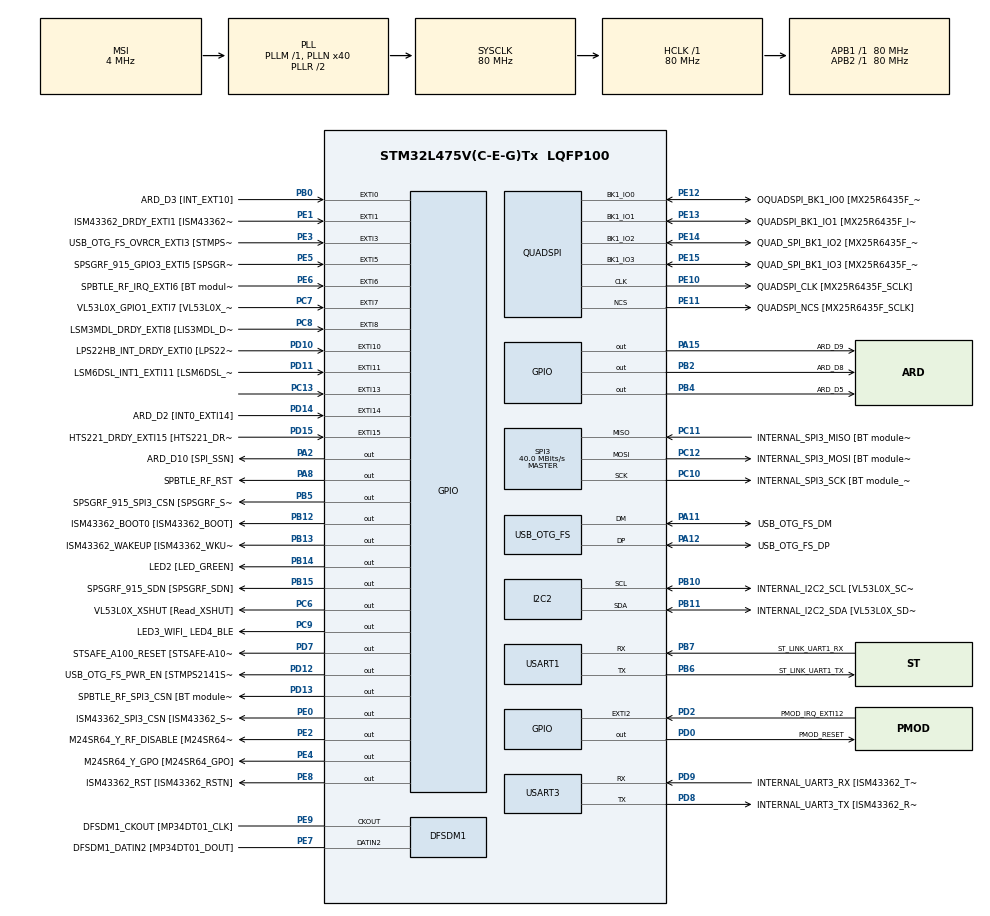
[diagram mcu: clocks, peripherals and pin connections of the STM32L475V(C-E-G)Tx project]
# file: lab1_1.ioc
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FREERTOS.Tasks01=defaultTask,24,128,StartDefaultTask,Default,NULL,Dynamic,NULL,NULL;myTask01,45,128,StartTask01,Default,NULL,Dynamic,NULL,NULL;myTask02,47,128,StartTask02,Default,NULL,Dynamic,NULL,NULL
Mcu.Family=STM32L4
Mcu.Name=STM32L475V(C-E-G)Tx
Mcu.Package=LQFP100
NVIC.EXTI15_10_IRQn=true\:5\:0\:false\:false\:true\:true\:true\:true\:true
NVIC.EXTI9_5_IRQn=true\:5\:0\:false\:false\:true\:true\:true\:true\:true
NVIC.PriorityGroup=NVIC_PRIORITYGROUP_4
PA0.GPIO_Label=ARD_D1 [UART4_TX]
PA0.Signal=UART4_TX
PA1.GPIO_Label=ARD_D0 [UART4_RX]
PA1.Signal=UART4_RX
PA10.GPIO_Label=USB_OTG_FS_ID
PA10.Signal=USB_OTG_FS_ID
PA11.GPIO_Label=USB_OTG_FS_DM
PA11.Mode=Device_Only
PA11.Signal=USB_OTG_FS_DM
PA12.GPIO_Label=USB_OTG_FS_DP
PA12.Mode=Device_Only
PA12.Signal=USB_OTG_FS_DP
PA13\ (JTMS-SWDIO).GPIO_Label=SYS_JTMS_SWDIO
PA13\ (JTMS-SWDIO).Mode=Serial_Wire
PA13\ (JTMS-SWDIO).Signal=SYS_JTMS-SWDIO
PA14\ (JTCK-SWCLK).GPIO_Label=SYS_JTCK_SWCLK
PA14\ (JTCK-SWCLK).Mode=Serial_Wire
PA14\ (JTCK-SWCLK).Signal=SYS_JTCK-SWCLK
PA15\ (JTDI).GPIO_Label=ARD_D9
PA15\ (JTDI).Signal=GPIO_Output
PA2.GPIO_Label=ARD_D10 [SPI_SSN]
PA2.Signal=GPIO_Output
PA3.GPIO_Label=ARD_D4
PA3.Signal=S_TIM2_CH4
PA4.GPIO_Label=ARD_D7
PA4.Signal=ADCx_IN9
PA5.GPIO_Label=ARD_D13 [SPI1_SCK]
PA5.Signal=SPI1_SCK
PA6.GPIO_Label=ARD_D12 [SPI1_MISO]
PA6.Signal=SPI1_MISO
PA7.GPIO_Label=ARD_D11 [SPI1_MOSI]
PA7.Signal=SPI1_MOSI
PA8.GPIO_Label=SPBTLE_RF_RST
PA8.Signal=GPIO_Output
PA9.GPIO_Label=USB_OTG_FS_VBUS [STMPS2141STR_OUT]
PA9.Signal=USB_OTG_FS_VBUS
PB0.GPIO_Label=ARD_D3 [INT_EXT10]
PB0.Signal=GPXTI0
PB1.GPIO_Label=ARD_D6 [ADC1_IN6]
PB1.Signal=ADCx_IN16
PB10.GPIO_Label=INTERNAL_I2C2_SCL [VL53L0X_SCL]
PB10.GPIO_Pu=GPIO_PULLUP
PB10.Mode=I2C
PB10.Signal=I2C2_SCL
PB11.GPIO_Label=INTERNAL_I2C2_SDA [VL53L0X_SDA]
PB11.GPIO_Pu=GPIO_PULLUP
PB11.Mode=I2C
PB11.Signal=I2C2_SDA
PB12.GPIO_Label=ISM43362_BOOT0 [ISM43362_BOOT]
PB12.Signal=GPIO_Output
PB13.GPIO_Label=ISM43362_WAKEUP [ISM43362_WKUP]
PB13.Signal=GPIO_Output
PB14.GPIO_Label=LED2 [LED_GREEN]
PB14.Signal=GPIO_Output
PB15.GPIO_Label=SPSGRF_915_SDN [SPSGRF_SDN]
PB15.Signal=GPIO_Output
PB2.GPIO_Label=ARD_D8
PB2.Signal=GPIO_Output
PB3\ (JTDO-TRACESWO).GPIO_Label=SYS_JTD0_SWO
PB3\ (JTDO-TRACESWO).Signal=SYS_JTDO-SWO
PB4\ (NJTRST).GPIO_Label=ARD_D5
PB4\ (NJTRST).Signal=GPIO_Output
PB5.GPIO_Label=SPSGRF_915_SPI3_CSN [SPSGRF_SPI_CS]
PB5.PinState=GPIO_PIN_SET
PB5.Signal=GPIO_Output
PB6.GPIO_Label=ST_LINK_UART1_TX
PB6.Mode=Asynchronous
PB6.Signal=USART1_TX
PB7.GPIO_Label=ST_LINK_UART1_RX
PB7.Mode=Asynchronous
PB7.Signal=USART1_RX
PB8.GPIO_Label=ARD_D15 [I2C1_SCL]
PB8.Signal=I2C1_SCL
PB9.GPIO_Label=ARD_D14 [I2C1_SDA]
PB9.Signal=I2C1_SDA
PC0.GPIO_Label=ARD_A5 [ADC]
PC0.Signal=ADCx_IN1
PC1.GPIO_Label=ARD_A4 [ADC]
PC1.Signal=ADCx_IN2
PC10.GPIO_Label=INTERNAL_SPI3_SCK [BT module_SPI_SCLK] [ISM43362_SCK]
PC10.Mode=Full_Duplex_Master
PC10.Signal=SPI3_SCK
PC11.GPIO_Label=INTERNAL_SPI3_MISO [BT module_SPI_MISO] [ISM43362_MISO]
PC11.Mode=Full_Duplex_Master
PC11.Signal=SPI3_MISO
PC12.GPIO_Label=INTERNAL_SPI3_MOSI [BT module_SPI_MOSI] [ISM43362_MOSI]
PC12.Mode=Full_Duplex_Master
PC12.Signal=SPI3_MOSI
PC13.GPIO_ModeDefaultEXTI=GPIO_MODE_IT_FALLING
PC13.Signal=GPXTI13
PC14-OSC32_IN\ (PC14).Mode=LSE-External-Oscillator
PC14-OSC32_IN\ (PC14).Signal=RCC_OSC32_IN
PC15-OSC32_OUT\ (PC15).Mode=LSE-External-Oscillator
PC15-OSC32_OUT\ (PC15).Signal=RCC_OSC32_OUT
PC2.GPIO_Label=ARD_A3 [ADC]
PC2.Signal=ADCx_IN3
PC3.GPIO_Label=ARD_A2 [ADC]
PC3.Signal=ADCx_IN4
PC4.GPIO_Label=ARD_A1 [ADC]
PC4.Signal=ADCx_IN13
PC5.GPIO_Label=ARD_A0 [ADC]
PC5.Signal=ADCx_IN14
PC6.GPIO_Label=VL53L0X_XSHUT [Read_XSHUT]
PC6.Signal=GPIO_Output
PC7.GPIO_Label=VL53L0X_GPIO1_EXTI7 [VL53L0X_GPIO1]
PC7.Signal=GPXTI7
PC8.GPIO_Label=LSM3MDL_DRDY_EXTI8 [LIS3MDL_DRDY]
PC8.Signal=GPXTI8
PC9.GPIO_Label=LED3_WIFI_ LED4_BLE
PC9.Signal=GPIO_Output
PD0.GPIO_Label=PMOD_RESET
PD0.Signal=GPIO_Output
PD1.GPIO_Label=PMOD_SPI2_SCK
PD1.Signal=SPI2_SCK
PD10.GPIO_Label=LPS22HB_INT_DRDY_EXTI0 [LPS22HB_INT_DRDY] 
PD10.Signal=GPXTI10
PD11.GPIO_Label=LSM6DSL_INT1_EXTI11 [LSM6DSL_INT1]
PD11.Signal=GPXTI11
PD12.GPIO_Label=USB_OTG_FS_PWR_EN [STMPS2141STR_EN]
PD12.Signal=GPIO_Output
PD13.GPIO_Label=SPBTLE_RF_SPI3_CSN [BT module_SPI_CS]
PD13.PinState=GPIO_PIN_SET
PD13.Signal=GPIO_Output
PD14.GPIO_Label=ARD_D2 [INT0_EXTI14]
PD14.Signal=GPXTI14
PD15.GPIO_Label=HTS221_DRDY_EXTI15 [HTS221_DRDY]
PD15.Signal=GPXTI15
PD2.GPIO_Label=PMOD_IRQ_EXTI12
PD2.Signal=GPXTI2
PD3.GPIO_Label=PMOD_UART2_CTS
PD3.Signal=USART2_CTS
PD4.GPIO_Label=PMOD_UART2_RTS
PD4.Signal=USART2_RTS
PD5.GPIO_Label=PMOD_UART2_TX
PD5.Signal=USART2_TX
PD6.GPIO_Label=PMOD_UART2_RX
PD6.Signal=USART2_RX
PD7.GPIO_Label=STSAFE_A100_RESET [STSAFE-A100_RESET]
PD7.Signal=GPIO_Output
PD8.GPIO_Label=INTERNAL_UART3_TX [ISM43362_RX]
PD8.Mode=Asynchronous
PD8.Signal=USART3_TX
PD9.GPIO_Label=INTERNAL_UART3_RX [ISM43362_TX]
PD9.Mode=Asynchronous
PD9.Signal=USART3_RX
PE0.GPIO_Label=ISM43362_SPI3_CSN [ISM43362_SSN]
PE0.PinState=GPIO_PIN_SET
PE0.Signal=GPIO_Output
PE1.GPIO_Label=ISM43362_DRDY_EXTI1 [ISM43362_DATARDY]
PE1.Signal=GPXTI1
PE10.GPIO_Label=QUADSPI_CLK [MX25R6435F_SCLK]
PE10.Mode=Single Bank
PE10.Signal=QUADSPI_CLK
PE11.GPIO_Label=QUADSPI_NCS [MX25R6435F_SCLK]
PE11.Mode=Single Bank
PE11.Signal=QUADSPI_NCS
PE12.GPIO_Label=OQUADSPI_BK1_IO0 [MX25R6435F_IO0]
PE12.Mode=Single Bank
PE12.Signal=QUADSPI_BK1_IO0
PE13.GPIO_Label=QUADSPI_BK1_IO1 [MX25R6435F_IO1]
PE13.Mode=Single Bank
PE13.Signal=QUADSPI_BK1_IO1
PE14.GPIO_Label=QUAD_SPI_BK1_IO2 [MX25R6435F_IO2]
PE14.Mode=Single Bank
PE14.Signal=QUADSPI_BK1_IO2
PE15.GPIO_Label=QUAD_SPI_BK1_IO3 [MX25R6435F_IO3]
PE15.Mode=Single Bank
PE15.Signal=QUADSPI_BK1_IO3
PE2.GPIO_Label=M24SR64_Y_RF_DISABLE [M24SR64_RFDIS]
PE2.Signal=GPIO_Output
PE3.GPIO_Label=USB_OTG_FS_OVRCR_EXTI3 [STMPS2141STR_FAULT]
PE3.Signal=GPXTI3
PE4.GPIO_Label=M24SR64_Y_GPO [M24SR64_GPO]
PE4.Signal=GPIO_Output
PE5.GPIO_Label=SPSGRF_915_GPIO3_EXTI5 [SPSGRF_GPIO_3]
PE5.Signal=GPXTI5
PE6.GPIO_Label=SPBTLE_RF_IRQ_EXTI6 [BT module_SPI_IRQ]
PE6.Signal=GPXTI6
PE7.GPIO_Label=DFSDM1_DATIN2 [MP34DT01_DOUT]
PE7.Signal=S_DATAIN2DFSDM1
PE8.GPIO_Label=ISM43362_RST [ISM43362_RSTN]
PE8.Signal=GPIO_Output
PE9.GPIO_Label=DFSDM1_CKOUT [MP34DT01_CLK]
PE9.Signal=S_CKOUTDFSDM1
ProjectManager.HeapSize=0x200
ProjectManager.StackSize=0x400
ProjectManager.TargetToolchain=STM32CubeIDE
QUADSPI.ClockPrescaler=2
QUADSPI.FifoThreshold=4
QUADSPI.FlashSize=23
QUADSPI.SampleShifting=QSPI_SAMPLE_SHIFTING_HALFCYCLE
RCC.ADCFreq_Value=48000000
RCC.AHBFreq_Value=80000000
RCC.APB1Freq_Value=80000000
RCC.APB1TimFreq_Value=80000000
RCC.APB2Freq_Value=80000000
RCC.APB2TimFreq_Value=80000000
RCC.CortexFreq_Value=80000000
RCC.HCLKFreq_Value=80000000
RCC.HSE_VALUE=8000000
RCC.HSI_VALUE=16000000
RCC.MSI_VALUE=4000000
RCC.PLLN=40
RCC.PLLSAI1N=24
RCC.SYSCLKFreq_VALUE=80000000
RCC.SYSCLKSource=RCC_SYSCLKSOURCE_PLLCLK
RCC.USBFreq_Value=48000000
RCC.VCOOutputFreq_Value=160000000
SH.ADCx_IN1.0=ADC1_IN1
SH.ADCx_IN13.0=ADC1_IN13
SH.ADCx_IN14.0=ADC1_IN14
SH.ADCx_IN16.0=ADC1_IN16
SH.ADCx_IN2.0=ADC1_IN2
SH.ADCx_IN3.0=ADC1_IN3
SH.ADCx_IN4.0=ADC1_IN4
SH.ADCx_IN9.0=ADC1_IN9
SH.S_CKOUTDFSDM1.0=DFSDM1_CKOUT,CKOUT
SH.S_CKOUTDFSDM1.1=DFSDM1_CKOUT,PDM_SPI_Input_from_ch12_and_Internal_Clock
SH.S_DATAIN2DFSDM1.0=DFSDM1_DATIN2,PDM_SPI_Input_from_ch12_and_Internal_Clock
SH.S_TIM2_CH4.0=TIM2_CH4
SPI3.CalculateBaudRate=40.0 MBits/s
SPI3.Direction=SPI_DIRECTION_2LINES
SPI3.Mode=SPI_MODE_MASTER
SPI3.VirtualType=VM_MASTER
USART1.VirtualMode-Asynchronous=VM_ASYNC
USART3.VirtualMode-Asynchronous=VM_ASYNC
USB_OTG_FS.VirtualMode=Device_Only
VP_FREERTOS_VS_CMSIS_V2.Mode=CMSIS_V2
board=B-L475E-IOT01A2

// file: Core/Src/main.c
/* USER CODE BEGIN Header */
/**
  ******************************************************************************
  * @file           : main.c
  * @brief          : Main program body
  ******************************************************************************
  * @attention
  *
  * Copyright (c) 2025 STMicroelectronics.
  * All rights reserved.
  *
  * This software is licensed under terms that can be found in the LICENSE file
  * in the root directory of this software component.
  * If no LICENSE file comes with this software, it is provided AS-IS.
  *
  ******************************************************************************
  */
/* USER CODE END Header */
#include "main.h"
#include "cmsis_os.h"

DFSDM_Channel_HandleTypeDef hdfsdm1_channel1;

I2C_HandleTypeDef hi2c2;

QSPI_HandleTypeDef hqspi;

SPI_HandleTypeDef hspi3;

UART_HandleTypeDef huart1;
UART_HandleTypeDef huart3;

PCD_HandleTypeDef hpcd_USB_OTG_FS;

/* Definitions for defaultTask */
osThreadId_t defaultTaskHandle;
const osThreadAttr_t defaultTask_attributes = {
  .name = "defaultTask",
  .stack_size = 128 * 4,
  .priority = (osPriority_t) osPriorityNormal,
};
/* Definitions for myTask01 */
osThreadId_t myTask01Handle;
const osThreadAttr_t myTask01_attributes = {
  .name = "myTask01",
  .stack_size = 128 * 4,
  .priority = (osPriority_t) osPriorityHigh5,
};
/* Definitions for myTask02 */
osThreadId_t myTask02Handle;
const osThreadAttr_t myTask02_attributes = {
  .name = "myTask02",
  .stack_size = 128 * 4,
  .priority = (osPriority_t) osPriorityHigh7,
};

void SystemClock_Config(void);
static void MX_GPIO_Init(void);
static void MX_DFSDM1_Init(void);
static void MX_I2C2_Init(void);
static void MX_QUADSPI_Init(void);
static void MX_SPI3_Init(void);
static void MX_USART1_UART_Init(void);
static void MX_USART3_UART_Init(void);
static void MX_USB_OTG_FS_PCD_Init(void);
void StartDefaultTask(void *argument);
void StartTask01(void *argument);
void StartTask02(void *argument);

int main(void)
{

  /* MCU Configuration--------------------------------------------------------*/

  /* Reset of all peripherals, Initializes the Flash interface and the Systick. */
  HAL_Init();

  /* Configure the system clock */
  SystemClock_Config();

  /* Initialize all configured peripherals */
  MX_GPIO_Init();
  MX_DFSDM1_Init();
  MX_I2C2_Init();
  MX_QUADSPI_Init();
  MX_SPI3_Init();
  MX_USART1_UART_Init();
  MX_USART3_UART_Init();
  MX_USB_OTG_FS_PCD_Init();

  /* Init scheduler */
  osKernelInitialize();

  /* USER CODE BEGIN RTOS_MUTEX */
  ledMutexHandle = osMutexNew(NULL);
  /* add mutexes, ... */
  /* USER CODE END RTOS_MUTEX */

  /* USER CODE BEGIN RTOS_SEMAPHORES */
  buttonSemaphoreHandle = osSemaphoreNew(1, 0, "buttonSem");
  timerSemaphoreHandle  = osSemaphoreNew(1, 0, "timerSem");
  /* add semaphores, ... */
  /* USER CODE END RTOS_SEMAPHORES */

  /* USER CODE BEGIN RTOS_TIMERS */
  TIM_HandleTypeDef htim2;
  HAL_TIM_Base_Start_IT(&htim2);
  /* start timers, add new ones, ... */
  /* USER CODE END RTOS_TIMERS */

  /* Create the thread(s) */
  /* creation of defaultTask */
  defaultTaskHandle = osThreadNew(StartDefaultTask, NULL, &defaultTask_attributes);

  /* creation of myTask01 */
  myTask01Handle = osThreadNew(StartTask01, NULL, &myTask01_attributes);

  /* creation of myTask02 */
  myTask02Handle = osThreadNew(StartTask02, NULL, &myTask02_attributes);

  /* USER CODE BEGIN RTOS_EVENTS */
  osKernelStart();
  /* add events, ... */
  /* USER CODE END RTOS_EVENTS */

  /* Start scheduler */
  osKernelStart();

  /* We should never get here as control is now taken by the scheduler */

  /* Infinite loop */
  while (1)
  {

  }
}

void SystemClock_Config(void)
{
  RCC_OscInitTypeDef RCC_OscInitStruct = {0};
  RCC_ClkInitTypeDef RCC_ClkInitStruct = {0};

  /** Configure the main internal regulator output voltage
  */
  if (HAL_PWREx_ControlVoltageScaling(PWR_REGULATOR_VOLTAGE_SCALE1) != HAL_OK)
  {
    Error_Handler();
  }

  /** Configure LSE Drive Capability
  */
  HAL_PWR_EnableBkUpAccess();
  __HAL_RCC_LSEDRIVE_CONFIG(RCC_LSEDRIVE_LOW);

  /** Initializes the RCC Oscillators according to the specified parameters
  * in the RCC_OscInitTypeDef structure.
  */
  RCC_OscInitStruct.OscillatorType = RCC_OSCILLATORTYPE_LSE|RCC_OSCILLATORTYPE_MSI;
  RCC_OscInitStruct.LSEState = RCC_LSE_ON;
  RCC_OscInitStruct.MSIState = RCC_MSI_ON;
  RCC_OscInitStruct.MSICalibrationValue = 0;
  RCC_OscInitStruct.MSIClockRange = RCC_MSIRANGE_6;
  RCC_OscInitStruct.PLL.PLLState = RCC_PLL_ON;
  RCC_OscInitStruct.PLL.PLLSource = RCC_PLLSOURCE_MSI;
  RCC_OscInitStruct.PLL.PLLM = 1;
  RCC_OscInitStruct.PLL.PLLN = 40;
  RCC_OscInitStruct.PLL.PLLP = RCC_PLLP_DIV7;
  RCC_OscInitStruct.PLL.PLLQ = RCC_PLLQ_DIV2;
  RCC_OscInitStruct.PLL.PLLR = RCC_PLLR_DIV2;
  if (HAL_RCC_OscConfig(&RCC_OscInitStruct) != HAL_OK)
  {
    Error_Handler();
  }

  /** Initializes the CPU, AHB and APB buses clocks
  */
  RCC_ClkInitStruct.ClockType = RCC_CLOCKTYPE_HCLK|RCC_CLOCKTYPE_SYSCLK
                              |RCC_CLOCKTYPE_PCLK1|RCC_CLOCKTYPE_PCLK2;
  RCC_ClkInitStruct.SYSCLKSource = RCC_SYSCLKSOURCE_PLLCLK;
  RCC_ClkInitStruct.AHBCLKDivider = RCC_SYSCLK_DIV1;
  RCC_ClkInitStruct.APB1CLKDivider = RCC_HCLK_DIV1;
  RCC_ClkInitStruct.APB2CLKDivider = RCC_HCLK_DIV1;

  if (HAL_RCC_ClockConfig(&RCC_ClkInitStruct, FLASH_LATENCY_4) != HAL_OK)
  {
    Error_Handler();
  }

  /** Enable MSI Auto calibration
  */
  HAL_RCCEx_EnableMSIPLLMode();
}

static void MX_DFSDM1_Init(void)
{

  hdfsdm1_channel1.Instance = DFSDM1_Channel1;
  hdfsdm1_channel1.Init.OutputClock.Activation = ENABLE;
  hdfsdm1_channel1.Init.OutputClock.Selection = DFSDM_CHANNEL_OUTPUT_CLOCK_SYSTEM;
  hdfsdm1_channel1.Init.OutputClock.Divider = 2;
  hdfsdm1_channel1.Init.Input.Multiplexer = DFSDM_CHANNEL_EXTERNAL_INPUTS;
  hdfsdm1_channel1.Init.Input.DataPacking = DFSDM_CHANNEL_STANDARD_MODE;
  hdfsdm1_channel1.Init.Input.Pins = DFSDM_CHANNEL_FOLLOWING_CHANNEL_PINS;
  hdfsdm1_channel1.Init.SerialInterface.Type = DFSDM_CHANNEL_SPI_RISING;
  hdfsdm1_channel1.Init.SerialInterface.SpiClock = DFSDM_CHANNEL_SPI_CLOCK_INTERNAL;
  hdfsdm1_channel1.Init.Awd.FilterOrder = DFSDM_CHANNEL_FASTSINC_ORDER;
  hdfsdm1_channel1.Init.Awd.Oversampling = 1;
  hdfsdm1_channel1.Init.Offset = 0;
  hdfsdm1_channel1.Init.RightBitShift = 0x00;
  if (HAL_DFSDM_ChannelInit(&hdfsdm1_channel1) != HAL_OK)
  {
    Error_Handler();
  }

}

static void MX_I2C2_Init(void)
{

  hi2c2.Instance = I2C2;
  hi2c2.Init.Timing = 0x00000E14;
  hi2c2.Init.OwnAddress1 = 0;
  hi2c2.Init.AddressingMode = I2C_ADDRESSINGMODE_7BIT;
  hi2c2.Init.DualAddressMode = I2C_DUALADDRESS_DISABLE;
  hi2c2.Init.OwnAddress2 = 0;
  hi2c2.Init.OwnAddress2Masks = I2C_OA2_NOMASK;
  hi2c2.Init.GeneralCallMode = I2C_GENERALCALL_DISABLE;
  hi2c2.Init.NoStretchMode = I2C_NOSTRETCH_DISABLE;
  if (HAL_I2C_Init(&hi2c2) != HAL_OK)
  {
    Error_Handler();
  }

  /** Configure Analogue filter
  */
  if (HAL_I2CEx_ConfigAnalogFilter(&hi2c2, I2C_ANALOGFILTER_ENABLE) != HAL_OK)
  {
    Error_Handler();
  }

  /** Configure Digital filter
  */
  if (HAL_I2CEx_ConfigDigitalFilter(&hi2c2, 0) != HAL_OK)
  {
    Error_Handler();
  }

}

static void MX_QUADSPI_Init(void)
{

  /* QUADSPI parameter configuration*/
  hqspi.Instance = QUADSPI;
  hqspi.Init.ClockPrescaler = 2;
  hqspi.Init.FifoThreshold = 4;
  hqspi.Init.SampleShifting = QSPI_SAMPLE_SHIFTING_HALFCYCLE;
  hqspi.Init.FlashSize = 23;
  hqspi.Init.ChipSelectHighTime = QSPI_CS_HIGH_TIME_1_CYCLE;
  hqspi.Init.ClockMode = QSPI_CLOCK_MODE_0;
  if (HAL_QSPI_Init(&hqspi) != HAL_OK)
  {
    Error_Handler();
  }

}

static void MX_SPI3_Init(void)
{

  /* SPI3 parameter configuration*/
  hspi3.Instance = SPI3;
  hspi3.Init.Mode = SPI_MODE_MASTER;
  hspi3.Init.Direction = SPI_DIRECTION_2LINES;
  hspi3.Init.DataSize = SPI_DATASIZE_4BIT;
  hspi3.Init.CLKPolarity = SPI_POLARITY_LOW;
  hspi3.Init.CLKPhase = SPI_PHASE_1EDGE;
  hspi3.Init.NSS = SPI_NSS_SOFT;
  hspi3.Init.BaudRatePrescaler = SPI_BAUDRATEPRESCALER_2;
  hspi3.Init.FirstBit = SPI_FIRSTBIT_MSB;
  hspi3.Init.TIMode = SPI_TIMODE_DISABLE;
  hspi3.Init.CRCCalculation = SPI_CRCCALCULATION_DISABLE;
  hspi3.Init.CRCPolynomial = 7;
  hspi3.Init.CRCLength = SPI_CRC_LENGTH_DATASIZE;
  hspi3.Init.NSSPMode = SPI_NSS_PULSE_ENABLE;
  if (HAL_SPI_Init(&hspi3) != HAL_OK)
  {
    Error_Handler();
  }

}

static void MX_USART1_UART_Init(void)
{

  huart1.Instance = USART1;
  huart1.Init.BaudRate = 115200;
  huart1.Init.WordLength = UART_WORDLENGTH_8B;
  huart1.Init.StopBits = UART_STOPBITS_1;
  huart1.Init.Parity = UART_PARITY_NONE;
  huart1.Init.Mode = UART_MODE_TX_RX;
  huart1.Init.HwFlowCtl = UART_HWCONTROL_NONE;
  huart1.Init.OverSampling = UART_OVERSAMPLING_16;
  huart1.Init.OneBitSampling = UART_ONE_BIT_SAMPLE_DISABLE;
  huart1.AdvancedInit.AdvFeatureInit = UART_ADVFEATURE_NO_INIT;
  if (HAL_UART_Init(&huart1) != HAL_OK)
  {
    Error_Handler();
  }

}

static void MX_USART3_UART_Init(void)
{

  huart3.Instance = USART3;
  huart3.Init.BaudRate = 115200;
  huart3.Init.WordLength = UART_WORDLENGTH_8B;
  huart3.Init.StopBits = UART_STOPBITS_1;
  huart3.Init.Parity = UART_PARITY_NONE;
  huart3.Init.Mode = UART_MODE_TX_RX;
  huart3.Init.HwFlowCtl = UART_HWCONTROL_NONE;
  huart3.Init.OverSampling = UART_OVERSAMPLING_16;
  huart3.Init.OneBitSampling = UART_ONE_BIT_SAMPLE_DISABLE;
  huart3.AdvancedInit.AdvFeatureInit = UART_ADVFEATURE_NO_INIT;
  if (HAL_UART_Init(&huart3) != HAL_OK)
  {
    Error_Handler();
  }

}

static void MX_USB_OTG_FS_PCD_Init(void)
{

  hpcd_USB_OTG_FS.Instance = USB_OTG_FS;
  hpcd_USB_OTG_FS.Init.dev_endpoints = 6;
  hpcd_USB_OTG_FS.Init.speed = PCD_SPEED_FULL;
  hpcd_USB_OTG_FS.Init.phy_itface = PCD_PHY_EMBEDDED;
  hpcd_USB_OTG_FS.Init.Sof_enable = DISABLE;
  hpcd_USB_OTG_FS.Init.low_power_enable = DISABLE;
  hpcd_USB_OTG_FS.Init.lpm_enable = DISABLE;
  hpcd_USB_OTG_FS.Init.battery_charging_enable = DISABLE;
  hpcd_USB_OTG_FS.Init.use_dedicated_ep1 = DISABLE;
  hpcd_USB_OTG_FS.Init.vbus_sensing_enable = DISABLE;
  if (HAL_PCD_Init(&hpcd_USB_OTG_FS) != HAL_OK)
  {
    Error_Handler();
  }

}

static void MX_GPIO_Init(void)
{
  GPIO_InitTypeDef GPIO_InitStruct = {0};

  /* GPIO Ports Clock Enable */
  __HAL_RCC_GPIOE_CLK_ENABLE();
  __HAL_RCC_GPIOC_CLK_ENABLE();
  __HAL_RCC_GPIOA_CLK_ENABLE();
  __HAL_RCC_GPIOB_CLK_ENABLE();
  __HAL_RCC_GPIOD_CLK_ENABLE();

  /*Configure GPIO pin Output Level */
  HAL_GPIO_WritePin(GPIOE, M24SR64_Y_RF_DISABLE_Pin|M24SR64_Y_GPO_Pin|ISM43362_RST_Pin, GPIO_PIN_RESET);

  /*Configure GPIO pin Output Level */
  HAL_GPIO_WritePin(GPIOA, ARD_D10_Pin|SPBTLE_RF_RST_Pin|ARD_D9_Pin, GPIO_PIN_RESET);

  /*Configure GPIO pin Output Level */
  HAL_GPIO_WritePin(GPIOB, ARD_D8_Pin|ISM43362_BOOT0_Pin|ISM43362_WAKEUP_Pin|LED2_Pin
                          |SPSGRF_915_SDN_Pin|ARD_D5_Pin, GPIO_PIN_RESET);

  /*Configure GPIO pin Output Level */
  HAL_GPIO_WritePin(GPIOD, USB_OTG_FS_PWR_EN_Pin|PMOD_RESET_Pin|STSAFE_A100_RESET_Pin, GPIO_PIN_RESET);

  /*Configure GPIO pin Output Level */
  HAL_GPIO_WritePin(SPBTLE_RF_SPI3_CSN_GPIO_Port, SPBTLE_RF_SPI3_CSN_Pin, GPIO_PIN_SET);

  /*Configure GPIO pin Output Level */
  HAL_GPIO_WritePin(GPIOC, VL53L0X_XSHUT_Pin|LED3_WIFI__LED4_BLE_Pin, GPIO_PIN_RESET);

  /*Configure GPIO pin Output Level */
  HAL_GPIO_WritePin(SPSGRF_915_SPI3_CSN_GPIO_Port, SPSGRF_915_SPI3_CSN_Pin, GPIO_PIN_SET);

  /*Configure GPIO pin Output Level */
  HAL_GPIO_WritePin(ISM43362_SPI3_CSN_GPIO_Port, ISM43362_SPI3_CSN_Pin, GPIO_PIN_SET);

  /*Configure GPIO pins : M24SR64_Y_RF_DISABLE_Pin M24SR64_Y_GPO_Pin ISM43362_RST_Pin ISM43362_SPI3_CSN_Pin */
  GPIO_InitStruct.Pin = M24SR64_Y_RF_DISABLE_Pin|M24SR64_Y_GPO_Pin|ISM43362_RST_Pin|ISM43362_SPI3_CSN_Pin;
  GPIO_InitStruct.Mode = GPIO_MODE_OUTPUT_PP;
  GPIO_InitStruct.Pull = GPIO_NOPULL;
  GPIO_InitStruct.Speed = GPIO_SPEED_FREQ_LOW;
  HAL_GPIO_Init(GPIOE, &GPIO_InitStruct);

  /*Configure GPIO pins : USB_OTG_FS_OVRCR_EXTI3_Pin SPSGRF_915_GPIO3_EXTI5_Pin SPBTLE_RF_IRQ_EXTI6_Pin ISM43362_DRDY_EXTI1_Pin */
  GPIO_InitStruct.Pin = USB_OTG_FS_OVRCR_EXTI3_Pin|SPSGRF_915_GPIO3_EXTI5_Pin|SPBTLE_RF_IRQ_EXTI6_Pin|ISM43362_DRDY_EXTI1_Pin;
  GPIO_InitStruct.Mode = GPIO_MODE_IT_RISING;
  GPIO_InitStruct.Pull = GPIO_NOPULL;
  HAL_GPIO_Init(GPIOE, &GPIO_InitStruct);

  /*Configure GPIO pin : PC13 */
  GPIO_InitStruct.Pin = GPIO_PIN_13;
  GPIO_InitStruct.Mode = GPIO_MODE_IT_FALLING;
  GPIO_InitStruct.Pull = GPIO_NOPULL;
  HAL_GPIO_Init(GPIOC, &GPIO_InitStruct);

  /*Configure GPIO pins : ARD_A5_Pin ARD_A4_Pin ARD_A3_Pin ARD_A2_Pin
                           ARD_A1_Pin ARD_A0_Pin */
  GPIO_InitStruct.Pin = ARD_A5_Pin|ARD_A4_Pin|ARD_A3_Pin|ARD_A2_Pin
                          |ARD_A1_Pin|ARD_A0_Pin;
  GPIO_InitStruct.Mode = GPIO_MODE_ANALOG_ADC_CONTROL;
  GPIO_InitStruct.Pull = GPIO_NOPULL;
  HAL_GPIO_Init(GPIOC, &GPIO_InitStruct);

  /*Configure GPIO pins : ARD_D1_Pin ARD_D0_Pin */
  GPIO_InitStruct.Pin = ARD_D1_Pin|ARD_D0_Pin;
  GPIO_InitStruct.Mode = GPIO_MODE_AF_PP;
  GPIO_InitStruct.Pull = GPIO_NOPULL;
  GPIO_InitStruct.Speed = GPIO_SPEED_FREQ_VERY_HIGH;
  GPIO_InitStruct.Alternate = GPIO_AF8_UART4;
  HAL_GPIO_Init(GPIOA, &GPIO_InitStruct);

  /*Configure GPIO pins : ARD_D10_Pin SPBTLE_RF_RST_Pin ARD_D9_Pin */
  GPIO_InitStruct.Pin = ARD_D10_Pin|SPBTLE_RF_RST_Pin|ARD_D9_Pin;
  GPIO_InitStruct.Mode = GPIO_MODE_OUTPUT_PP;
  GPIO_InitStruct.Pull = GPIO_NOPULL;
  GPIO_InitStruct.Speed = GPIO_SPEED_FREQ_LOW;
  HAL_GPIO_Init(GPIOA, &GPIO_InitStruct);

  /*Configure GPIO pin : ARD_D4_Pin */
  GPIO_InitStruct.Pin = ARD_D4_Pin;
  GPIO_InitStruct.Mode = GPIO_MODE_AF_PP;
  GPIO_InitStruct.Pull = GPIO_NOPULL;
  GPIO_InitStruct.Speed = GPIO_SPEED_FREQ_LOW;
  GPIO_InitStruct.Alternate = GPIO_AF1_TIM2;
  HAL_GPIO_Init(ARD_D4_GPIO_Port, &GPIO_InitStruct);

  /*Configure GPIO pin : ARD_D7_Pin */
  GPIO_InitStruct.Pin = ARD_D7_Pin;
  GPIO_InitStruct.Mode = GPIO_MODE_ANALOG_ADC_CONTROL;
  GPIO_InitStruct.Pull = GPIO_NOPULL;
  HAL_GPIO_Init(ARD_D7_GPIO_Port, &GPIO_InitStruct);

  /*Configure GPIO pins : ARD_D13_Pin ARD_D12_Pin ARD_D11_Pin */
  GPIO_InitStruct.Pin = ARD_D13_Pin|ARD_D12_Pin|ARD_D11_Pin;
  GPIO_InitStruct.Mode = GPIO_MODE_AF_PP;
  GPIO_InitStruct.Pull = GPIO_NOPULL;
  GPIO_InitStruct.Speed = GPIO_SPEED_FREQ_VERY_HIGH;
  GPIO_InitStruct.Alternate = GPIO_AF5_SPI1;
  HAL_GPIO_Init(GPIOA, &GPIO_InitStruct);

  /*Configure GPIO pin : ARD_D3_Pin */
  GPIO_InitStruct.Pin = ARD_D3_Pin;
  GPIO_InitStruct.Mode = GPIO_MODE_IT_RISING;
  GPIO_InitStruct.Pull = GPIO_NOPULL;
  HAL_GPIO_Init(ARD_D3_GPIO_Port, &GPIO_InitStruct);

  /*Configure GPIO pin : ARD_D6_Pin */
  GPIO_InitStruct.Pin = ARD_D6_Pin;
  GPIO_InitStruct.Mode = GPIO_MODE_ANALOG_ADC_CONTROL;
  GPIO_InitStruct.Pull = GPIO_NOPULL;
  HAL_GPIO_Init(ARD_D6_GPIO_Port, &GPIO_InitStruct);

  /*Configure GPIO pins : ARD_D8_Pin ISM43362_BOOT0_Pin ISM43362_WAKEUP_Pin LED2_Pin
                           SPSGRF_915_SDN_Pin ARD_D5_Pin SPSGRF_915_SPI3_CSN_Pin */
  GPIO_InitStruct.Pin = ARD_D8_Pin|ISM43362_BOOT0_Pin|ISM43362_WAKEUP_Pin|LED2_Pin
                          |SPSGRF_915_SDN_Pin|ARD_D5_Pin|SPSGRF_915_SPI3_CSN_Pin;
  GPIO_InitStruct.Mode = GPIO_MODE_OUTPUT_PP;
  GPIO_InitStruct.Pull = GPIO_NOPULL;
  GPIO_InitStruct.Speed = GPIO_SPEED_FREQ_LOW;
  HAL_GPIO_Init(GPIOB, &GPIO_InitStruct);

  /*Configure GPIO pins : LPS22HB_INT_DRDY_EXTI0_Pin LSM6DSL_INT1_EXTI11_Pin ARD_D2_Pin HTS221_DRDY_EXTI15_Pin
                           PMOD_IRQ_EXTI12_Pin */
  GPIO_InitStruct.Pin = LPS22HB_INT_DRDY_EXTI0_Pin|LSM6DSL_INT1_EXTI11_Pin|ARD_D2_Pin|HTS221_DRDY_EXTI15_Pin
                          |PMOD_IRQ_EXTI12_Pin;
  GPIO_InitStruct.Mode = GPIO_MODE_IT_RISING;
  GPIO_InitStruct.Pull = GPIO_NOPULL;
  HAL_GPIO_Init(GPIOD, &GPIO_InitStruct);

  /*Configure GPIO pins : USB_OTG_FS_PWR_EN_Pin SPBTLE_RF_SPI3_CSN_Pin PMOD_RESET_Pin STSAFE_A100_RESET_Pin */
  GPIO_InitStruct.Pin = USB_OTG_FS_PWR_EN_Pin|SPBTLE_RF_SPI3_CSN_Pin|PMOD_RESET_Pin|STSAFE_A100_RESET_Pin;
  GPIO_InitStruct.Mode = GPIO_MODE_OUTPUT_PP;
  GPIO_InitStruct.Pull = GPIO_NOPULL;
  GPIO_InitStruct.Speed = GPIO_SPEED_FREQ_LOW;
  HAL_GPIO_Init(GPIOD, &GPIO_InitStruct);

  /*Configure GPIO pins : VL53L0X_XSHUT_Pin LED3_WIFI__LED4_BLE_Pin */
  GPIO_InitStruct.Pin = VL53L0X_XSHUT_Pin|LED3_WIFI__LED4_BLE_Pin;
  GPIO_InitStruct.Mode = GPIO_MODE_OUTPUT_PP;
  GPIO_InitStruct.Pull = GPIO_NOPULL;
  GPIO_InitStruct.Speed = GPIO_SPEED_FREQ_LOW;
  HAL_GPIO_Init(GPIOC, &GPIO_InitStruct);

  /*Configure GPIO pins : VL53L0X_GPIO1_EXTI7_Pin LSM3MDL_DRDY_EXTI8_Pin */
  GPIO_InitStruct.Pin = VL53L0X_GPIO1_EXTI7_Pin|LSM3MDL_DRDY_EXTI8_Pin;
  GPIO_InitStruct.Mode = GPIO_MODE_IT_RISING;
  GPIO_InitStruct.Pull = GPIO_NOPULL;
  HAL_GPIO_Init(GPIOC, &GPIO_InitStruct);

  /*Configure GPIO pin : PMOD_SPI2_SCK_Pin */
  GPIO_InitStruct.Pin = PMOD_SPI2_SCK_Pin;
  GPIO_InitStruct.Mode = GPIO_MODE_AF_PP;
  GPIO_InitStruct.Pull = GPIO_NOPULL;
  GPIO_InitStruct.Speed = GPIO_SPEED_FREQ_VERY_HIGH;
  GPIO_InitStruct.Alternate = GPIO_AF5_SPI2;
  HAL_GPIO_Init(PMOD_SPI2_SCK_GPIO_Port, &GPIO_InitStruct);

  /*Configure GPIO pins : PMOD_UART2_CTS_Pin PMOD_UART2_RTS_Pin PMOD_UART2_TX_Pin PMOD_UART2_RX_Pin */
  GPIO_InitStruct.Pin = PMOD_UART2_CTS_Pin|PMOD_UART2_RTS_Pin|PMOD_UART2_TX_Pin|PMOD_UART2_RX_Pin;
  GPIO_InitStruct.Mode = GPIO_MODE_AF_PP;
  GPIO_InitStruct.Pull = GPIO_NOPULL;
  GPIO_InitStruct.Speed = GPIO_SPEED_FREQ_VERY_HIGH;
  GPIO_InitStruct.Alternate = GPIO_AF7_USART2;
  HAL_GPIO_Init(GPIOD, &GPIO_InitStruct);

  /*Configure GPIO pins : ARD_D15_Pin ARD_D14_Pin */
  GPIO_InitStruct.Pin = ARD_D15_Pin|ARD_D14_Pin;
  GPIO_InitStruct.Mode = GPIO_MODE_AF_OD;
  GPIO_InitStruct.Pull = GPIO_NOPULL;
  GPIO_InitStruct.Speed = GPIO_SPEED_FREQ_VERY_HIGH;
  GPIO_InitStruct.Alternate = GPIO_AF4_I2C1;
  HAL_GPIO_Init(GPIOB, &GPIO_InitStruct);

  /* EXTI interrupt init*/
  HAL_NVIC_SetPriority(EXTI9_5_IRQn, 5, 0);
  HAL_NVIC_EnableIRQ(EXTI9_5_IRQn);

  HAL_NVIC_SetPriority(EXTI15_10_IRQn, 5, 0);
  HAL_NVIC_EnableIRQ(EXTI15_10_IRQn);

}

/* USER CODE BEGIN 4 */
void HAL_GPIO_EXTI_Callback(uint16_t GPIO_Pin) {
	if(GPIO_Pin == GPIO_PIN_13)
	  {
	    /* 從中斷中釋放二元信號量，通知 Task_1 */
	    osSemaphoreRelease(buttonSemaphoreHandle);
	  }
}
void HAL_TIM_PeriodElapsedCallback(TIM_HandleTypeDef *htim)
{
  if(htim->Instance == TIM2)
  {
    /* 從定時器中斷釋放二元信號量，通知 Task_2 */
    osSemaphoreRelease(timerSemaphoreHandle);
  }
}
void timerCallback(void *argument) {
    osSemaphoreRelease(semTimer); // 釋放 Semaphore，通知 Task_2 啟動
}
void FreeRTOS_Init(void) {
    // 創建 Timer (10 秒觸發一次)
    myTimer = osTimerNew(timerCallback, osTimerPeriodic, NULL, NULL);
    osTimerStart(myTimer, 10000); // 10 秒觸發一次
}
/* USER CODE END 4 */

void StartDefaultTask(void *argument)
{
  /* USER CODE BEGIN 5 */
  /* Infinite loop */
	for(;;)
	  {
	    /* 等待按鈕中斷通知 */
	    if(osSemaphoreAcquire(buttonSemaphoreHandle, osWaitForever) == osOK)
	    {
	      /* 取得互斥鎖保護 LED2 */
	      if(osMutexAcquire(ledMutexHandle, osWaitForever) == osOK)
	      {
	        /* 5 秒內，每秒切換一次 LED2 狀態 (1Hz) */
	        for(int i = 0; i < 5; i++)
	        {
	          HAL_GPIO_TogglePin(LED2_GPIO_PORT, LED2_PIN);
	          osDelay(1000);  // 延遲 1000 毫秒
	        }
	        /* 操作完成，釋放互斥鎖 */
	        osMutexRelease(ledMutexHandle);
	      }
	    }
	  }
  /* USER CODE END 5 */
}

void StartTask01(void *argument)
{
  /* USER CODE BEGIN StartTask01 */
  /* Infinite loop */
	for(;;)
	  {
	    /* 等待定時器中斷通知 */
	    if(osSemaphoreAcquire(timerSemaphoreHandle, osWaitForever) == osOK)
	    {
	      /* 取得互斥鎖保護 LED2 */
	      if(osMutexAcquire(ledMutexHandle, osWaitForever) == osOK)
	      {
	        /* 2 秒內，每 0.1 秒切換一次 LED2 狀態 (10Hz)，共 20 次 */
	        for(int i = 0; i < 20; i++)
	        {
	          HAL_GPIO_TogglePin(LED2_GPIO_PORT, LED2_PIN);
	          osDelay(100);  // 延遲 100 毫秒
	        }
	        /* 操作完成，釋放互斥鎖 */
	        osMutexRelease(ledMutexHandle);
	      }
	    }
  /* USER CODE END StartTask01 */
}

void StartTask02(void *argument)
{
  for(;;)
  {
    osDelay(1);
  }
}

void Error_Handler(void)
{
  __disable_irq();
  while (1)
  {
  }
}
